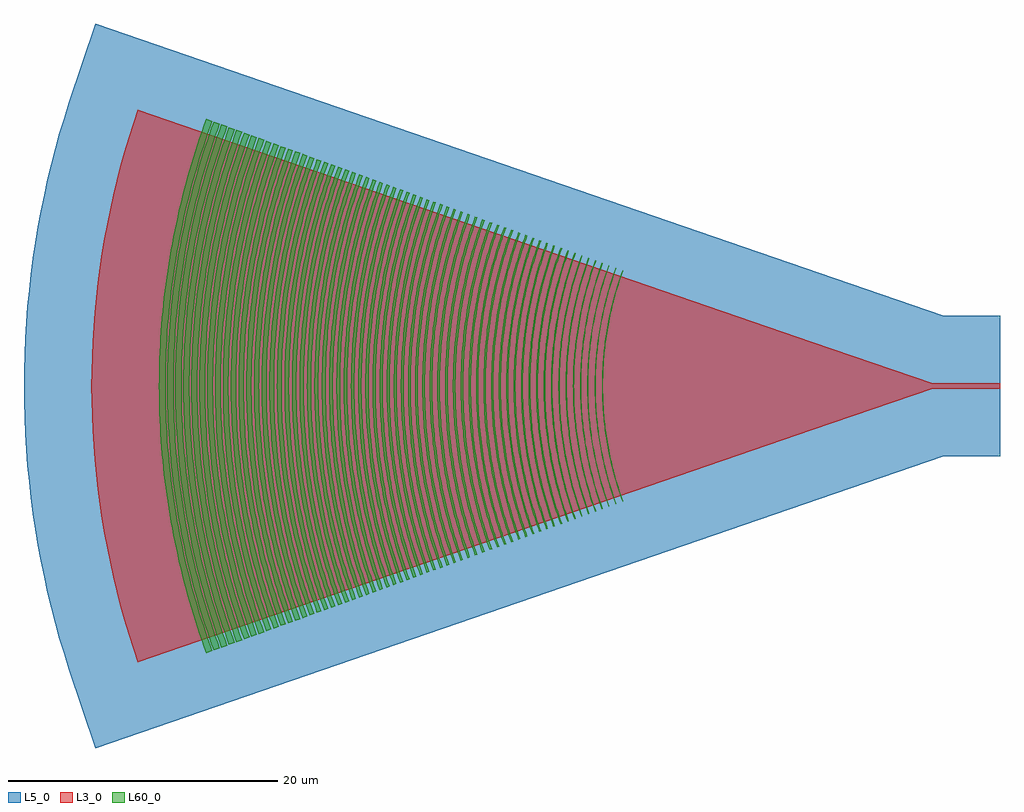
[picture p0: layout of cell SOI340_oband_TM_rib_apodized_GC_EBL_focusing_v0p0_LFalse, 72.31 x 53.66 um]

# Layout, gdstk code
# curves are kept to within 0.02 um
import gdstk
lib = gdstk.Library(unit=1e-6, precision=1e-09)
def P(c, l, *ps):  # polygons
    for p in ps: c.add(gdstk.Polygon(p, *l))
L3_0 = (3, 0)
L5_0 = (5, 0)
L60_0 = (60, 0)

soi340_oband_tm_rib_apod = lib.new_cell('SOI340_oband_TM_rib_apodized_GC_EBL_focusing_v0p0_LFalse')
P(soi340_oband_tm_rib_apod, L3_0, [(-63.882,-20.475),(-64.872,-17.335),(-65.44,-15.214),(-65.934,-13.075),(-66.353,-10.921),(-66.696,-8.752),(-67.069,-5.481),(-67.27,-2.195),(-67.308,0),(-67.27,2.195),(-67.069,5.481),(-66.696,8.752),(-66.353,10.921),(-65.934,13.075),(-65.44,15.214),(-64.872,17.335),(-63.882,20.475),(-5,0.2),(0,0.2),(0,-0.2),(-5,-0.2)])
P(soi340_oband_tm_rib_apod, L5_0, [(-66.982,-26.83),(-67.039,-26.802),(-68.986,-20.978),(-69.679,-18.713),(-70.292,-16.423),(-70.825,-14.116),(-71.061,-12.955),(-71.473,-10.619),(-71.648,-9.447),(-71.936,-7.098),(-72.05,-5.918),(-72.143,-4.735),(-72.267,-2.368),(-72.308,0),(-72.267,2.368),(-72.143,4.735),(-72.05,5.918),(-71.936,7.098),(-71.648,9.447),(-71.473,10.619),(-71.061,12.955),(-70.825,14.116),(-70.292,16.423),(-69.679,18.713),(-68.986,20.978),(-67.039,26.802),(-66.982,26.83),(-4.163,5.2),(0,5.2),(0,-5.2),(-4.163,-5.2)])
P(soi340_oband_tm_rib_apod, L60_0, [(-27.967,-8.571),(-28.114,-8.159),(-28.319,-7.536),(-28.509,-6.908),(-28.625,-6.486),(-28.885,-5.424),(-29.019,-4.781),(-29.098,-4.351),(-29.203,-3.704),(-29.293,-3.054),(-29.384,-2.184),(-29.455,-1.093),(-29.479,0),(-29.455,1.093),(-29.384,2.184),(-29.293,3.054),(-29.203,3.704),(-29.098,4.351),(-29.019,4.781),(-28.885,5.424),(-28.625,6.486),(-28.509,6.908),(-28.319,7.536),(-28.114,8.159),(-27.967,8.571),(-27.911,8.551),(-28.127,7.933),(-28.327,7.309),(-28.51,6.681),(-28.676,6.048),(-28.873,5.198),(-29.076,4.126),(-29.233,3.047),(-29.324,2.179),(-29.395,1.09),(-29.419,0),(-29.395,-1.09),(-29.324,-2.179),(-29.233,-3.047),(-29.076,-4.126),(-28.873,-5.198),(-28.676,-6.048),(-28.51,-6.681),(-28.327,-7.309),(-28.127,-7.933),(-27.911,-8.551)],
  [(-28.475,-8.755),(-28.624,-8.335),(-28.833,-7.698),(-29.027,-7.057),(-29.146,-6.626),(-29.412,-5.541),(-29.629,-4.445),(-29.799,-3.342),(-29.854,-2.898),(-29.921,-2.231),(-29.994,-1.117),(-30.018,0),(-29.994,1.117),(-29.921,2.231),(-29.854,2.898),(-29.799,3.342),(-29.629,4.445),(-29.412,5.541),(-29.146,6.626),(-29.027,7.057),(-28.833,7.698),(-28.624,8.335),(-28.475,8.755),(-28.418,8.735),(-28.638,8.104),(-28.842,7.467),(-29.029,6.825),(-29.199,6.178),(-29.4,5.31),(-29.608,4.215),(-29.74,3.334),(-29.861,2.226),(-29.934,1.114),(-29.958,0),(-29.934,-1.114),(-29.861,-2.226),(-29.74,-3.334),(-29.608,-4.215),(-29.4,-5.31),(-29.199,-6.178),(-29.029,-6.825),(-28.842,-7.467),(-28.638,-8.104),(-28.418,-8.735)],
  [(-28.997,-8.945),(-29.15,-8.515),(-29.364,-7.865),(-29.498,-7.429),(-29.684,-6.77),(-29.955,-5.661),(-30.095,-4.99),(-30.178,-4.542),(-30.351,-3.414),(-30.407,-2.961),(-30.476,-2.279),(-30.55,-1.141),(-30.566,-0.685),(-30.575,0),(-30.566,0.685),(-30.55,1.141),(-30.476,2.279),(-30.432,2.734),(-30.351,3.414),(-30.178,4.542),(-30.095,4.99),(-29.955,5.661),(-29.684,6.77),(-29.562,7.21),(-29.364,7.865),(-29.15,8.515),(-28.997,8.945),(-28.941,8.925),(-29.166,8.28),(-29.375,7.63),(-29.684,6.534),(-29.945,5.426),(-30.119,4.532),(-30.292,3.406),(-30.416,2.274),(-30.49,1.138),(-30.506,0.683),(-30.515,0),(-30.506,-0.683),(-30.49,-1.138),(-30.416,-2.274),(-30.292,-3.406),(-30.119,-4.532),(-29.945,-5.426),(-29.684,-6.534),(-29.375,-7.63),(-29.166,-8.28),(-28.941,-8.925)],
  [(-29.489,-9.124),(-29.645,-8.686),(-29.863,-8.022),(-30.065,-7.354),(-30.189,-6.905),(-30.466,-5.774),(-30.563,-5.319),(-30.693,-4.633),(-30.805,-3.943),(-30.9,-3.251),(-30.997,-2.325),(-31.073,-1.164),(-31.098,0),(-31.073,1.164),(-30.997,2.325),(-30.9,3.251),(-30.805,3.943),(-30.693,4.633),(-30.563,5.319),(-30.466,5.774),(-30.189,6.905),(-30.065,7.354),(-29.863,8.022),(-29.645,8.686),(-29.489,9.124),(-29.432,9.104),(-29.661,8.446),(-29.874,7.782),(-30.069,7.113),(-30.246,6.439),(-30.355,5.988),(-30.503,5.307),(-30.672,4.393),(-30.745,3.934),(-30.839,3.244),(-30.936,2.32),(-31.012,1.161),(-31.037,0),(-31.012,-1.161),(-30.936,-2.32),(-30.839,-3.244),(-30.745,-3.934),(-30.672,-4.393),(-30.503,-5.307),(-30.355,-5.988),(-30.246,-6.439),(-30.069,-7.113),(-29.874,-7.782),(-29.661,-8.446),(-29.432,-9.104)],
  [(-29.994,-9.308),(-30.376,-8.184),(-30.707,-7.044),(-30.99,-5.891),(-31.222,-4.726),(-31.402,-3.553),(-31.532,-2.372),(-31.609,-1.187),(-31.635,0),(-31.609,1.187),(-31.532,2.372),(-31.402,3.553),(-31.222,4.726),(-30.99,5.891),(-30.707,7.044),(-30.376,8.184),(-29.994,9.308),(-29.924,9.283),(-30.158,8.612),(-30.375,7.936),(-30.574,7.253),(-30.755,6.566),(-30.968,5.643),(-31.189,4.48),(-31.359,3.308),(-31.458,2.366),(-31.535,1.184),(-31.561,0),(-31.535,-1.184),(-31.458,-2.366),(-31.359,-3.308),(-31.189,-4.48),(-30.968,-5.643),(-30.755,-6.566),(-30.574,-7.253),(-30.375,-7.936),(-30.158,-8.612),(-29.924,-9.283)],
  [(-30.499,-9.492),(-30.739,-8.807),(-30.961,-8.115),(-31.227,-7.183),(-31.515,-6.007),(-31.752,-4.819),(-31.935,-3.622),(-32.068,-2.419),(-32.147,-1.21),(-32.173,0),(-32.147,1.21),(-32.068,2.419),(-31.935,3.622),(-31.752,4.819),(-31.515,6.007),(-31.227,7.183),(-30.961,8.115),(-30.739,8.807),(-30.499,9.492),(-30.426,9.466),(-30.814,8.322),(-31.152,7.163),(-31.439,5.99),(-31.675,4.806),(-31.858,3.612),(-31.99,2.412),(-32.069,1.207),(-32.095,0),(-32.069,-1.207),(-31.99,-2.412),(-31.858,-3.612),(-31.675,-4.806),(-31.439,-5.99),(-31.152,-7.163),(-30.814,-8.322),(-30.426,-9.466)],
  [(-31.003,-9.676),(-31.325,-8.743),(-31.681,-7.561),(-31.985,-6.364),(-32.237,-5.156),(-32.362,-4.426),(-32.468,-3.693),(-32.603,-2.466),(-32.683,-1.234),(-32.71,0),(-32.683,1.234),(-32.603,2.466),(-32.468,3.693),(-32.362,4.426),(-32.237,5.156),(-31.985,6.364),(-31.681,7.561),(-31.325,8.743),(-31.003,9.676),(-30.931,9.65),(-31.175,8.952),(-31.4,8.249),(-31.607,7.54),(-31.795,6.826),(-32.067,5.625),(-32.246,4.657),(-32.392,3.683),(-32.526,2.459),(-32.606,1.231),(-32.633,0),(-32.606,-1.231),(-32.526,-2.459),(-32.392,-3.683),(-32.246,-4.657),(-32.067,-5.625),(-31.795,-6.826),(-31.607,-7.54),(-31.4,-8.249),(-31.175,-8.952),(-30.931,-9.65)],
  [(-31.517,-9.862),(-31.922,-8.672),(-32.274,-7.464),(-32.573,-6.242),(-32.818,-5.008),(-33.009,-3.764),(-33.147,-2.513),(-33.229,-1.258),(-33.256,0),(-33.229,1.258),(-33.147,2.513),(-33.009,3.764),(-32.818,5.008),(-32.573,6.242),(-32.274,7.464),(-31.922,8.672),(-31.517,9.862),(-31.43,9.831),(-31.834,8.644),(-32.185,7.44),(-32.483,6.222),(-32.636,5.485),(-32.77,4.744),(-32.95,3.503),(-33.055,2.505),(-33.137,1.254),(-33.164,0),(-33.137,-1.254),(-33.055,-2.505),(-32.95,-3.503),(-32.77,-4.744),(-32.636,-5.485),(-32.483,-6.222),(-32.185,-7.44),(-31.834,-8.644),(-31.43,-9.831)],
  [(-32.033,-10.05),(-32.445,-8.837),(-32.803,-7.605),(-33.109,-6.36),(-33.358,-5.102),(-33.554,-3.836),(-33.694,-2.561),(-33.777,-1.282),(-33.805,0),(-33.777,1.282),(-33.694,2.561),(-33.554,3.836),(-33.358,5.102),(-33.109,6.36),(-32.803,7.605),(-32.445,8.837),(-32.033,10.05),(-31.933,10.014),(-32.42,8.561),(-32.766,7.331),(-33.059,6.088),(-33.339,4.58),(-33.511,3.315),(-33.609,2.297),(-33.681,1.022),(-33.699,0),(-33.681,-1.022),(-33.609,-2.297),(-33.511,-3.315),(-33.339,-4.58),(-33.059,-6.088),(-32.766,-7.331),(-32.42,-8.561),(-31.933,-10.014)],
  [(-32.558,-10.241),(-32.978,-9.005),(-33.344,-7.75),(-33.654,-6.481),(-33.909,-5.2),(-34.108,-3.909),(-34.251,-2.609),(-34.336,-1.306),(-34.364,0),(-34.336,1.306),(-34.251,2.609),(-34.108,3.909),(-33.909,5.2),(-33.654,6.481),(-33.344,7.75),(-32.978,9.005),(-32.558,10.241),(-32.444,10.2),(-32.863,8.968),(-33.227,7.719),(-33.536,6.455),(-33.834,4.922),(-34.021,3.635),(-34.13,2.599),(-34.215,1.301),(-34.243,0),(-34.215,-1.301),(-34.13,-2.599),(-34.021,-3.635),(-33.834,-4.922),(-33.536,-6.455),(-33.227,-7.719),(-32.863,-8.968),(-32.444,-10.2)],
  [(-33.085,-10.433),(-33.512,-9.173),(-33.885,-7.895),(-34.201,-6.602),(-34.46,-5.297),(-34.663,-3.982),(-34.808,-2.659),(-34.895,-1.33),(-34.924,0),(-34.895,1.33),(-34.808,2.659),(-34.663,3.982),(-34.46,5.297),(-34.201,6.602),(-33.885,7.895),(-33.512,9.173),(-33.085,10.433),(-32.97,10.392),(-33.396,9.136),(-33.767,7.864),(-34.082,6.576),(-34.385,5.015),(-34.576,3.703),(-34.708,2.384),(-34.773,1.325),(-34.802,0),(-34.773,-1.325),(-34.708,-2.384),(-34.576,-3.703),(-34.385,-5.015),(-34.082,-6.576),(-33.767,-7.864),(-33.396,-9.136),(-32.97,-10.392)],
  [(-33.606,-10.622),(-34.041,-9.34),(-34.421,-8.039),(-34.743,-6.722),(-35.007,-5.393),(-35.213,-4.054),(-35.361,-2.707),(-35.45,-1.354),(-35.479,0),(-35.45,1.354),(-35.361,2.707),(-35.213,4.054),(-35.007,5.393),(-34.743,6.722),(-34.421,8.039),(-34.041,9.34),(-33.606,10.622),(-33.491,10.581),(-33.925,9.303),(-34.372,7.746),(-34.681,6.432),(-34.933,5.106),(-35.126,3.77),(-35.262,2.427),(-35.328,1.349),(-35.357,0),(-35.328,-1.349),(-35.262,-2.427),(-35.126,-3.77),(-34.933,-5.106),(-34.681,-6.432),(-34.372,-7.746),(-33.925,-9.303),(-33.491,-10.581)],
  [(-34.123,-10.81),(-34.565,-9.505),(-34.951,-8.181),(-35.279,-6.842),(-35.548,-5.488),(-35.758,-4.126),(-35.908,-2.755),(-35.998,-1.379),(-36.028,0),(-35.998,1.379),(-35.908,2.755),(-35.758,4.126),(-35.548,5.488),(-35.279,6.842),(-34.951,8.181),(-34.565,9.505),(-34.123,10.81),(-34.001,10.767),(-34.442,9.466),(-34.896,7.882),(-35.211,6.545),(-35.467,5.196),(-35.664,3.836),(-35.802,2.47),(-35.88,1.099),(-35.899,0),(-35.88,-1.099),(-35.802,-2.47),(-35.664,-3.836),(-35.467,-5.196),(-35.211,-6.545),(-34.896,-7.882),(-34.442,-9.466),(-34.001,-10.767)],
  [(-34.635,-10.997),(-35.086,-9.67),(-35.478,-8.322),(-35.812,-6.96),(-36.085,-5.584),(-36.299,-4.197),(-36.452,-2.802),(-36.544,-1.403),(-36.574,0),(-36.544,1.403),(-36.452,2.802),(-36.299,4.197),(-36.085,5.584),(-35.812,6.96),(-35.478,8.322),(-35.086,9.67),(-34.635,10.997),(-34.511,10.953),(-34.96,9.63),(-35.351,8.288),(-35.683,6.931),(-36.003,5.285),(-36.168,4.18),(-36.32,2.791),(-36.412,1.397),(-36.442,0),(-36.412,-1.397),(-36.32,-2.791),(-36.168,-4.18),(-36.003,-5.285),(-35.683,-6.931),(-35.351,-8.288),(-34.96,-9.63),(-34.511,-10.953)],
  [(-35.156,-11.187),(-35.615,-9.836),(-36.014,-8.466),(-36.354,-7.08),(-36.632,-5.68),(-36.885,-3.987),(-37.029,-2.567),(-37.098,-1.426),(-37.129,0),(-37.098,1.426),(-37.029,2.567),(-36.885,3.987),(-36.632,5.68),(-36.354,7.08),(-36.014,8.466),(-35.615,9.836),(-35.156,11.187),(-35.019,11.138),(-35.476,9.792),(-35.946,8.153),(-36.329,6.492),(-36.582,5.094),(-36.774,3.686),(-36.883,2.555),(-36.952,1.42),(-36.983,0),(-36.952,-1.42),(-36.883,-2.555),(-36.774,-3.686),(-36.582,-5.094),(-36.329,-6.492),(-35.946,-8.153),(-35.476,-9.792),(-35.019,-11.138)],
  [(-35.682,-11.378),(-36.149,-10.005),(-36.555,-8.611),(-36.901,-7.201),(-37.184,-5.778),(-37.405,-4.343),(-37.562,-2.9),(-37.657,-1.451),(-37.689,0),(-37.657,1.451),(-37.562,2.9),(-37.405,4.343),(-37.184,5.778),(-36.901,7.201),(-36.555,8.611),(-36.149,10.005),(-35.682,11.378),(-35.545,11.329),(-36.096,9.685),(-36.488,8.294),(-36.819,6.887),(-37.089,5.467),(-37.296,4.037),(-37.441,2.599),(-37.523,1.156),(-37.543,0),(-37.523,-1.156),(-37.441,-2.599),(-37.296,-4.037),(-37.089,-5.467),(-36.819,-6.887),(-36.488,-8.294),(-36.096,-9.685),(-35.545,-11.329)],
  [(-36.22,-11.574),(-36.694,-10.176),(-37.107,-8.759),(-37.458,-7.325),(-37.746,-5.876),(-37.971,-4.418),(-38.131,-2.95),(-38.228,-1.476),(-38.26,0),(-38.228,1.476),(-38.131,2.95),(-37.971,4.418),(-37.746,5.876),(-37.458,7.325),(-37.107,8.759),(-36.694,10.176),(-36.22,11.574),(-36.072,11.521),(-36.544,10.129),(-37.03,8.434),(-37.367,7.003),(-37.641,5.559),(-37.815,4.397),(-37.975,2.936),(-38.071,1.469),(-38.103,0),(-38.071,-1.469),(-37.975,-2.936),(-37.815,-4.397),(-37.641,-5.559),(-37.367,-7.003),(-37.03,-8.434),(-36.544,-10.129),(-36.072,-11.521)],
  [(-36.736,-11.762),(-37.218,-10.341),(-37.638,-8.901),(-37.994,-7.444),(-38.288,-5.971),(-38.516,-4.489),(-38.679,-2.998),(-38.777,-1.5),(-38.81,0),(-38.777,1.5),(-38.679,2.998),(-38.516,4.489),(-38.288,5.971),(-38.059,7.151),(-37.638,8.901),(-37.218,10.341),(-36.736,11.762),(-36.598,11.712),(-37.078,10.297),(-37.496,8.863),(-37.915,7.12),(-38.193,5.652),(-38.408,4.173),(-38.533,2.985),(-38.63,1.494),(-38.663,0),(-38.63,-1.494),(-38.533,-2.985),(-38.408,-4.173),(-38.193,-5.652),(-37.915,-7.12),(-37.496,-8.863),(-37.078,-10.297),(-36.598,-11.712)],
  [(-37.257,-11.951),(-37.747,-10.508),(-38.174,-9.045),(-38.537,-7.563),(-38.835,-6.068),(-39.066,-4.561),(-39.232,-3.046),(-39.332,-1.524),(-39.365,0),(-39.332,1.524),(-39.232,3.046),(-39.066,4.561),(-38.835,6.068),(-38.537,7.563),(-38.174,9.045),(-37.747,10.508),(-37.257,11.951),(-37.104,11.896),(-37.682,10.17),(-38.094,8.709),(-38.504,6.935),(-38.774,5.441),(-38.943,4.239),(-39.095,2.729),(-39.181,1.214),(-39.202,0),(-39.181,-1.214),(-39.095,-2.729),(-38.943,-4.239),(-38.774,-5.441),(-38.504,-6.935),(-38.094,-8.709),(-37.682,-10.17),(-37.104,-11.896)],
  [(-37.803,-12.15),(-38.3,-10.683),(-38.735,-9.194),(-39.103,-7.689),(-39.405,-6.169),(-39.641,-4.637),(-39.81,-3.096),(-39.911,-1.55),(-39.945,0),(-39.911,1.55),(-39.81,3.096),(-39.641,4.637),(-39.405,6.169),(-39.103,7.689),(-38.735,9.194),(-38.3,10.683),(-37.803,12.15),(-37.63,12.088),(-38.217,10.333),(-38.635,8.849),(-38.989,7.348),(-39.326,5.529),(-39.498,4.307),(-39.652,2.773),(-39.727,1.542),(-39.761,0),(-39.727,-1.542),(-39.652,-2.773),(-39.498,-4.307),(-39.326,-5.529),(-38.989,-7.348),(-38.635,-8.849),(-38.217,-10.333),(-37.63,-12.088)],
  [(-38.349,-12.349),(-38.856,-10.858),(-39.297,-9.346),(-39.671,-7.816),(-39.978,-6.27),(-40.218,-4.713),(-40.389,-3.147),(-40.493,-1.575),(-40.527,0),(-40.493,1.575),(-40.389,3.147),(-40.218,4.713),(-39.978,6.27),(-39.671,7.816),(-39.297,9.346),(-38.856,10.858),(-38.349,12.349),(-38.177,12.287),(-38.681,10.803),(-39.2,8.995),(-39.623,7.162),(-39.902,5.62),(-40.113,4.067),(-40.233,2.819),(-40.31,1.567),(-40.344,0),(-40.31,-1.567),(-40.233,-2.819),(-40.113,-4.067),(-39.902,-5.62),(-39.623,-7.162),(-39.2,-8.995),(-38.681,-10.803),(-38.177,-12.287)],
  [(-38.898,-12.549),(-39.412,-11.033),(-39.861,-9.496),(-40.242,-7.942),(-40.553,-6.371),(-40.797,-4.789),(-40.971,-3.198),(-41.076,-1.6),(-41.111,0),(-41.076,1.6),(-40.971,3.198),(-40.797,4.789),(-40.553,6.371),(-40.242,7.942),(-39.861,9.496),(-39.412,11.033),(-38.898,12.549),(-38.722,12.485),(-39.329,10.673),(-39.761,9.14),(-40.191,7.278),(-40.475,5.711),(-40.652,4.449),(-40.811,2.864),(-40.902,1.274),(-40.924,0),(-40.902,-1.274),(-40.811,-2.864),(-40.652,-4.449),(-40.475,-5.711),(-40.191,-7.278),(-39.761,-9.14),(-39.329,-10.673),(-38.722,-12.485)],
  [(-39.44,-12.745),(-39.962,-11.207),(-40.417,-9.646),(-40.804,-8.066),(-41.121,-6.471),(-41.368,-4.864),(-41.545,-3.248),(-41.652,-1.626),(-41.687,0),(-41.652,1.626),(-41.545,3.248),(-41.368,4.864),(-41.121,6.471),(-40.804,8.066),(-40.417,9.646),(-39.962,11.207),(-39.44,12.745),(-39.266,12.683),(-39.882,10.842),(-40.321,9.285),(-40.758,7.393),(-41.045,5.801),(-41.226,4.519),(-41.388,2.909),(-41.467,1.618),(-41.502,0),(-41.467,-1.618),(-41.388,-2.909),(-41.226,-4.519),(-41.045,-5.801),(-40.758,-7.393),(-40.321,-9.285),(-39.882,-10.842),(-39.266,-12.683)],
  [(-39.969,-12.938),(-40.499,-11.376),(-40.961,-9.792),(-41.354,-8.188),(-41.675,-6.569),(-41.926,-4.938),(-42.106,-3.297),(-42.214,-1.65),(-42.25,0),(-42.214,1.65),(-42.106,3.297),(-41.926,4.938),(-41.675,6.569),(-41.354,8.188),(-40.961,9.792),(-40.499,11.376),(-39.969,12.938),(-39.795,12.876),(-40.323,11.32),(-40.866,9.426),(-41.242,7.827),(-41.602,5.889),(-41.823,4.262),(-41.949,2.954),(-42.042,1.314),(-42.065,0),(-42.042,-1.314),(-41.949,-2.954),(-41.823,-4.262),(-41.602,-5.889),(-41.242,-7.827),(-40.866,-9.426),(-40.323,-11.32),(-39.795,-12.876)],
  [(-40.482,-13.124),(-41.019,-11.54),(-41.489,-9.933),(-41.887,-8.306),(-42.213,-6.664),(-42.467,-5.009),(-42.65,-3.345),(-42.76,-1.674),(-42.796,0),(-42.76,1.674),(-42.65,3.345),(-42.467,5.009),(-42.213,6.664),(-41.887,8.306),(-41.489,9.933),(-41.019,11.54),(-40.482,13.124),(-40.308,13.062),(-40.843,11.485),(-41.394,9.563),(-41.776,7.941),(-42.141,5.975),(-42.326,4.654),(-42.493,2.997),(-42.575,1.666),(-42.611,0),(-42.575,-1.666),(-42.493,-2.997),(-42.326,-4.654),(-42.141,-5.975),(-41.776,-7.941),(-41.394,-9.563),(-40.843,-11.485),(-40.308,-13.062)],
  [(-40.984,-13.307),(-41.529,-11.701),(-42.005,-10.071),(-42.408,-8.421),(-42.739,-6.756),(-42.997,-5.078),(-43.182,-3.391),(-43.293,-1.697),(-43.33,0),(-43.293,1.697),(-43.182,3.391),(-42.997,5.078),(-42.739,6.756),(-42.408,8.421),(-42.005,10.071),(-41.529,11.701),(-40.984,13.307),(-40.808,13.244),(-41.351,11.645),(-41.824,10.023),(-42.297,8.051),(-42.612,6.391),(-42.854,4.719),(-43.024,3.038),(-43.106,1.689),(-43.143,0),(-43.106,-1.689),(-43.024,-3.038),(-42.854,-4.719),(-42.612,-6.391),(-42.297,-8.051),(-41.824,-10.023),(-41.351,-11.645),(-40.808,-13.244)],
  [(-41.477,-13.488),(-42.03,-11.858),(-42.512,-10.206),(-42.92,-8.535),(-43.256,-6.848),(-43.517,-5.148),(-43.705,-3.437),(-43.818,-1.72),(-43.855,0),(-43.818,1.72),(-43.705,3.437),(-43.517,5.148),(-43.256,6.848),(-42.92,8.535),(-42.512,10.206),(-42.03,11.858),(-41.477,13.488),(-41.297,13.423),(-41.848,11.801),(-42.414,9.826),(-42.876,7.824),(-43.181,6.139),(-43.412,4.443),(-43.543,3.079),(-43.627,1.712),(-43.664,0),(-43.627,-1.712),(-43.543,-3.079),(-43.412,-4.443),(-43.181,-6.139),(-42.876,-7.824),(-42.414,-9.826),(-41.848,-11.801),(-41.297,-13.423)],
  [(-41.97,-13.666),(-42.531,-12.016),(-43.018,-10.343),(-43.432,-8.65),(-43.773,-6.939),(-44.038,-5.216),(-44.228,-3.483),(-44.342,-1.743),(-44.38,0),(-44.342,1.743),(-44.228,3.483),(-44.038,5.216),(-43.773,6.939),(-43.432,8.65),(-43.018,10.343),(-42.531,12.016),(-41.97,13.666),(-41.785,13.6),(-42.343,11.957),(-42.828,10.292),(-43.314,8.267),(-43.638,6.563),(-43.887,4.846),(-44.032,3.466),(-44.145,1.734),(-44.183,0),(-44.145,-1.734),(-44.032,-3.466),(-43.887,-4.846),(-43.638,-6.563),(-43.314,-8.267),(-42.828,-10.292),(-42.343,-11.957),(-41.785,-13.6)],
  [(-42.464,-13.846),(-43.032,-12.174),(-43.525,-10.479),(-43.945,-8.763),(-44.29,-7.031),(-44.558,-5.285),(-44.751,-3.529),(-44.867,-1.766),(-44.905,0),(-44.867,1.766),(-44.751,3.529),(-44.558,5.285),(-44.29,7.031),(-43.945,8.763),(-43.525,10.479),(-43.032,12.174),(-42.464,13.846),(-42.272,13.777),(-42.837,12.113),(-43.418,10.086),(-43.821,8.375),(-44.149,6.648),(-44.401,4.909),(-44.548,3.511),(-44.663,1.757),(-44.701,0),(-44.663,-1.757),(-44.548,-3.511),(-44.401,-4.909),(-44.149,-6.648),(-43.821,-8.375),(-43.418,-10.086),(-42.837,-12.113),(-42.272,-13.777)],
  [(-42.957,-14.026),(-43.532,-12.332),(-44.033,-10.614),(-44.458,-8.876),(-44.807,-7.121),(-45.079,-5.353),(-45.274,-3.574),(-45.391,-1.789),(-45.43,0),(-45.391,1.789),(-45.274,3.574),(-45.079,5.353),(-44.807,7.121),(-44.458,8.876),(-44.033,10.614),(-43.532,12.332),(-42.957,14.026),(-42.759,13.955),(-43.332,12.269),(-43.92,10.216),(-44.401,8.134),(-44.718,6.383),(-44.958,4.619),(-45.094,3.201),(-45.181,1.78),(-45.22,0),(-45.181,-1.78),(-45.094,-3.201),(-44.958,-4.619),(-44.718,-6.383),(-44.401,-8.134),(-43.92,-10.216),(-43.332,-12.269),(-42.759,-13.955)],
  [(-43.452,-14.206),(-44.035,-12.491),(-44.542,-10.751),(-44.973,-8.99),(-45.326,-7.213),(-45.602,-5.422),(-45.799,-3.62),(-45.918,-1.812),(-45.957,0),(-45.918,1.812),(-45.799,3.62),(-45.602,5.422),(-45.326,7.213),(-44.973,8.99),(-44.542,10.751),(-44.035,12.491),(-43.452,14.206),(-43.246,14.132),(-43.933,12.081),(-44.422,10.345),(-44.909,8.238),(-45.229,6.464),(-45.43,5.036),(-45.611,3.242),(-45.699,1.802),(-45.738,0),(-45.699,-1.802),(-45.611,-3.242),(-45.43,-5.036),(-45.229,-6.464),(-44.909,-8.238),(-44.422,-10.345),(-43.933,-12.081),(-43.246,-14.132)],
  [(-43.949,-14.386),(-44.538,-12.65),(-45.051,-10.887),(-45.488,-9.105),(-45.846,-7.305),(-46.125,-5.49),(-46.325,-3.667),(-46.445,-1.835),(-46.485,0),(-46.445,1.835),(-46.325,3.667),(-46.125,5.49),(-45.846,7.305),(-45.488,9.105),(-45.051,10.887),(-44.538,12.65),(-43.949,14.386),(-43.737,14.31),(-44.432,12.233),(-44.927,10.476),(-45.346,8.699),(-45.745,6.545),(-45.991,4.737),(-46.131,3.283),(-46.235,1.46),(-46.26,0),(-46.235,-1.46),(-46.131,-3.283),(-45.991,-4.737),(-45.745,-6.545),(-45.346,-8.699),(-44.927,-10.476),(-44.432,-12.233),(-43.737,-14.31)],
  [(-44.447,-14.568),(-45.044,-12.809),(-45.565,-11.025),(-46.006,-9.22),(-46.368,-7.397),(-46.652,-5.559),(-46.854,-3.712),(-46.976,-1.858),(-47.016,0),(-46.976,1.858),(-46.854,3.712),(-46.652,5.559),(-46.368,7.397),(-46.006,9.22),(-45.565,11.025),(-45.044,12.809),(-44.447,14.568),(-44.227,14.489),(-44.931,12.386),(-45.433,10.607),(-45.932,8.446),(-46.26,6.627),(-46.51,4.796),(-46.651,3.324),(-46.742,1.848),(-46.782,0),(-46.742,-1.848),(-46.651,-3.324),(-46.51,-4.796),(-46.26,-6.627),(-45.932,-8.446),(-45.433,-10.607),(-44.931,-12.386),(-44.227,-14.489)],
  [(-44.948,-14.75),(-45.552,-12.969),(-46.079,-11.162),(-46.525,-9.335),(-46.892,-7.489),(-47.179,-5.629),(-47.384,-3.759),(-47.507,-1.882),(-47.548,0),(-47.507,1.882),(-47.384,3.759),(-47.179,5.629),(-46.892,7.489),(-46.525,9.335),(-46.079,11.162),(-45.552,12.969),(-44.948,14.75),(-44.721,14.669),(-45.322,12.897),(-45.941,10.738),(-46.37,8.917),(-46.779,6.709),(-46.987,5.227),(-47.175,3.365),(-47.281,1.497),(-47.307,0),(-47.281,-1.497),(-47.175,-3.365),(-46.987,-5.227),(-46.779,-6.709),(-46.37,-8.917),(-45.941,-10.738),(-45.322,-12.897),(-44.721,-14.669)],
  [(-45.449,-14.932),(-46.061,-13.13),(-46.595,-11.3),(-47.047,-9.451),(-47.418,-7.582),(-47.709,-5.7),(-47.916,-3.806),(-48.041,-1.905),(-48.082,0),(-48.041,1.905),(-47.916,3.806),(-47.709,5.7),(-47.418,7.582),(-47.047,9.451),(-46.595,11.3),(-46.061,13.13),(-45.449,14.932),(-45.215,14.848),(-45.824,13.055),(-46.45,10.87),(-46.884,9.026),(-47.299,6.791),(-47.554,4.915),(-47.699,3.406),(-47.807,1.515),(-47.833,0),(-47.807,-1.515),(-47.699,-3.406),(-47.554,-4.915),(-47.299,-6.791),(-46.884,-9.026),(-46.45,-10.87),(-45.824,-13.055),(-45.215,-14.848)],
  [(-45.955,-15.116),(-46.574,-13.292),(-47.114,-11.44),(-47.572,-9.567),(-47.948,-7.676),(-48.242,-5.77),(-48.452,-3.853),(-48.578,-1.928),(-48.62,0),(-48.578,1.928),(-48.452,3.853),(-48.242,5.77),(-47.948,7.676),(-47.572,9.567),(-47.114,11.44),(-46.574,13.292),(-45.955,15.116),(-45.712,15.029),(-46.442,12.848),(-46.962,11.002),(-47.402,9.136),(-47.821,6.874),(-48.08,4.974),(-48.227,3.448),(-48.335,1.534),(-48.362,0),(-48.335,-1.534),(-48.227,-3.448),(-48.08,-4.974),(-47.821,-6.874),(-47.402,-9.136),(-46.962,-11.002),(-46.442,-12.848),(-45.712,-15.029)],
  [(-46.461,-15.301),(-47.089,-13.454),(-47.635,-11.58),(-48.099,-9.683),(-48.479,-7.769),(-48.777,-5.839),(-48.989,-3.899),(-49.117,-1.952),(-49.159,0),(-49.117,1.952),(-48.989,3.899),(-48.777,5.839),(-48.479,7.769),(-48.099,9.683),(-47.635,11.58),(-47.089,13.454),(-46.461,15.301),(-46.212,15.211),(-46.836,13.374),(-47.477,11.136),(-47.922,9.247),(-48.346,6.957),(-48.608,5.035),(-48.757,3.489),(-48.852,1.94),(-48.894,0),(-48.852,-1.94),(-48.757,-3.489),(-48.608,-5.035),(-48.346,-6.957),(-47.922,-9.247),(-47.477,-11.136),(-46.836,-13.374),(-46.212,-15.211)],
  [(-46.97,-15.485),(-47.604,-13.616),(-48.157,-11.72),(-48.627,-9.8),(-49.012,-7.863),(-49.313,-5.911),(-49.528,-3.947),(-49.657,-1.975),(-49.7,0),(-49.657,1.975),(-49.528,3.947),(-49.313,5.911),(-49.012,7.863),(-48.627,9.8),(-48.157,11.72),(-47.604,13.616),(-46.97,15.485),(-46.712,15.393),(-47.343,13.534),(-47.992,11.269),(-48.522,8.973),(-48.872,7.041),(-49.091,5.485),(-49.287,3.531),(-49.399,1.571),(-49.426,0),(-49.399,-1.571),(-49.287,-3.531),(-49.091,-5.485),(-48.872,-7.041),(-48.522,-8.973),(-47.992,-11.269),(-47.343,-13.534),(-46.712,-15.393)],
  [(-47.48,-15.673),(-48.123,-13.78),(-48.682,-11.86),(-49.157,-9.918),(-49.548,-7.957),(-49.852,-5.982),(-50.07,-3.994),(-50.201,-1.999),(-50.244,0),(-50.201,1.999),(-50.07,3.994),(-49.852,5.982),(-49.548,7.957),(-49.157,9.918),(-48.682,11.86),(-48.123,13.78),(-47.48,15.673),(-47.215,15.577),(-47.972,13.315),(-48.511,11.403),(-49.048,9.08),(-49.401,7.124),(-49.623,5.55),(-49.822,3.573),(-49.919,1.987),(-49.962,0),(-49.919,-1.987),(-49.822,-3.573),(-49.623,-5.55),(-49.401,-7.124),(-49.048,-9.08),(-48.511,-11.403),(-47.972,-13.315),(-47.215,-15.577)],
  [(-47.994,-15.859),(-48.644,-13.944),(-49.21,-12.001),(-49.691,-10.037),(-50.086,-8.053),(-50.394,-6.053),(-50.614,-4.041),(-50.746,-2.023),(-50.79,0),(-50.746,2.023),(-50.614,4.041),(-50.394,6.053),(-50.086,8.053),(-49.691,10.037),(-49.21,12.001),(-48.644,13.944),(-47.994,15.859),(-47.72,15.76),(-48.486,13.472),(-49.031,11.538),(-49.492,9.581),(-49.932,7.209),(-50.156,5.616),(-50.357,3.615),(-50.471,1.608),(-50.499,0),(-50.471,-1.608),(-50.357,-3.615),(-50.156,-5.616),(-49.932,-7.209),(-49.492,-9.581),(-49.031,-11.538),(-48.486,-13.472),(-47.72,-15.76)],
  [(-48.512,-16.048),(-49.17,-14.111),(-49.743,-12.145),(-50.23,-10.156),(-50.629,-8.149),(-50.94,-6.124),(-51.164,-4.089),(-51.298,-2.047),(-51.342,0),(-51.298,2.047),(-51.164,4.089),(-50.94,6.124),(-50.629,8.149),(-50.23,10.156),(-49.743,12.145),(-49.17,14.111),(-48.512,16.048),(-48.229,15.946),(-49.004,13.631),(-49.556,11.673),(-50.105,9.295),(-50.467,7.293),(-50.741,5.278),(-50.897,3.658),(-50.997,2.034),(-51.041,0),(-50.997,-2.034),(-50.897,-3.658),(-50.741,-5.278),(-50.467,-7.293),(-50.105,-9.295),(-49.556,-11.673),(-49.004,-13.631),(-48.229,-15.946)],
  [(-49.031,-16.237),(-49.697,-14.276),(-50.277,-12.288),(-50.769,-10.276),(-51.172,-8.243),(-51.487,-6.197),(-51.714,-4.138),(-51.849,-2.07),(-51.894,0),(-51.849,2.07),(-51.714,4.138),(-51.487,6.197),(-51.172,8.243),(-50.769,10.276),(-50.277,12.288),(-49.697,14.276),(-49.031,16.237),(-48.741,16.132),(-49.403,14.183),(-50.084,11.81),(-50.639,9.404),(-51.005,7.379),(-51.283,5.339),(-51.441,3.701),(-51.541,2.057),(-51.586,0),(-51.541,-2.057),(-51.441,-3.701),(-51.283,-5.339),(-51.005,-7.379),(-50.639,-9.404),(-50.084,-11.81),(-49.403,-14.183),(-48.741,-16.132)],
  [(-49.552,-16.425),(-50.224,-14.442),(-50.81,-12.431),(-51.309,-10.396),(-51.717,-8.34),(-52.036,-6.269),(-52.264,-4.186),(-52.402,-2.095),(-52.447,0),(-52.402,2.095),(-52.264,4.186),(-52.036,6.269),(-51.717,8.34),(-51.309,10.396),(-50.81,12.431),(-50.224,14.442),(-49.552,16.425),(-49.253,16.318),(-49.922,14.347),(-50.61,11.946),(-51.172,9.512),(-51.543,7.464),(-51.823,5.401),(-51.983,3.743),(-52.085,2.081),(-52.13,0),(-52.085,-2.081),(-51.983,-3.743),(-51.823,-5.401),(-51.543,-7.464),(-51.172,-9.512),(-50.61,-11.946),(-49.922,-14.347),(-49.253,-16.318)],
  [(-50.076,-16.616),(-50.756,-14.61),(-51.35,-12.575),(-51.853,-10.516),(-52.267,-8.437),(-52.589,-6.342),(-52.82,-4.234),(-52.959,-2.119),(-53.005,0),(-52.959,2.119),(-52.82,4.234),(-52.589,6.342),(-52.267,8.437),(-51.853,10.516),(-51.35,12.575),(-50.756,14.61),(-50.076,16.616),(-49.768,16.506),(-50.569,14.11),(-51.141,12.083),(-51.709,9.621),(-52.084,7.549),(-52.368,5.463),(-52.529,3.786),(-52.649,1.684),(-52.678,0),(-52.649,-1.684),(-52.529,-3.786),(-52.368,-5.463),(-52.084,-7.549),(-51.709,-9.621),(-51.141,-12.083),(-50.569,-14.11),(-49.768,-16.506)],
  [(-50.602,-16.808),(-51.291,-14.779),(-51.892,-12.72),(-52.401,-10.638),(-52.819,-8.534),(-53.145,-6.415),(-53.379,-4.284),(-53.52,-2.144),(-53.566,0),(-53.52,2.144),(-53.379,4.284),(-53.145,6.415),(-52.819,8.534),(-52.401,10.638),(-51.892,12.72),(-51.291,14.779),(-50.602,16.808),(-50.286,16.694),(-50.971,14.678),(-51.675,12.221),(-52.25,9.731),(-52.629,7.636),(-52.866,5.949),(-53.08,3.83),(-53.184,2.129),(-53.23,0),(-53.184,-2.129),(-53.08,-3.83),(-52.866,-5.949),(-52.629,-7.636),(-52.25,-9.731),(-51.675,-12.221),(-50.971,-14.678),(-50.286,-16.694)],
  [(-51.131,-17),(-51.827,-14.948),(-52.434,-12.865),(-52.95,-10.759),(-53.373,-8.632),(-53.703,-6.488),(-53.939,-4.332),(-54.081,-2.168),(-54.128,0),(-54.081,2.168),(-53.939,4.332),(-53.703,6.488),(-53.373,8.632),(-52.95,10.759),(-52.434,12.865),(-51.827,14.948),(-51.131,17),(-50.806,16.883),(-51.626,14.433),(-52.211,12.36),(-52.792,9.842),(-53.175,7.722),(-53.466,5.588),(-53.631,3.873),(-53.753,1.723),(-53.783,0),(-53.753,-1.723),(-53.631,-3.873),(-53.466,-5.588),(-53.175,-7.722),(-52.792,-9.842),(-52.211,-12.36),(-51.626,-14.433),(-50.806,-16.883)],
  [(-51.663,-17.195),(-52.369,-15.119),(-52.982,-13.013),(-53.504,-10.882),(-53.932,-8.731),(-54.265,-6.562),(-54.504,-4.382),(-54.647,-2.193),(-54.695,0),(-54.647,2.193),(-54.504,4.382),(-54.265,6.562),(-53.932,8.731),(-53.504,10.882),(-52.982,13.013),(-52.369,15.119),(-51.663,17.195),(-51.329,17.074),(-52.03,15.012),(-52.75,12.499),(-53.338,9.953),(-53.792,7.379),(-54.019,5.651),(-54.186,3.917),(-54.31,1.742),(-54.34,0),(-54.31,-1.742),(-54.186,-3.917),(-54.019,-5.651),(-53.792,-7.379),(-53.338,-9.953),(-52.75,-12.499),(-52.03,-15.012),(-51.329,-17.074)],
  [(-52.197,-17.388),(-52.91,-15.29),(-53.531,-13.159),(-54.057,-11.005),(-54.49,-8.829),(-54.828,-6.637),(-55.07,-4.431),(-55.215,-2.218),(-55.263,0),(-55.215,2.218),(-55.07,4.431),(-54.828,6.637),(-54.49,8.829),(-54.057,11.005),(-53.531,13.159),(-52.91,15.29),(-52.197,17.388),(-51.855,17.265),(-52.563,15.18),(-53.291,12.639),(-53.886,10.064),(-54.278,7.897),(-54.575,5.714),(-54.743,3.961),(-54.851,2.202),(-54.899,0),(-54.851,-2.202),(-54.743,-3.961),(-54.575,-5.714),(-54.278,-7.897),(-53.886,-10.064),(-53.291,-12.639),(-52.563,-15.18),(-51.855,-17.265)],
  [(-52.734,-17.583),(-53.455,-15.46),(-54.082,-13.307),(-54.615,-11.128),(-55.053,-8.928),(-55.394,-6.711),(-55.639,-4.482),(-55.785,-2.242),(-55.834,0),(-55.785,2.242),(-55.639,4.482),(-55.394,6.711),(-55.053,8.928),(-54.615,11.128),(-54.082,13.307),(-53.455,15.46),(-52.734,17.583),(-52.382,17.457),(-53.23,14.923),(-53.834,12.78),(-54.345,10.612),(-54.832,7.985),(-55.08,6.22),(-55.303,4.005),(-55.429,1.781),(-55.46,0),(-55.429,-1.781),(-55.303,-4.005),(-55.08,-6.22),(-54.832,-7.985),(-54.345,-10.612),(-53.834,-12.78),(-53.23,-14.923),(-52.382,-17.457)],
  [(-53.274,-17.779),(-54.002,-15.633),(-54.637,-13.456),(-55.176,-11.253),(-55.618,-9.027),(-55.964,-6.786),(-56.211,-4.532),(-56.359,-2.268),(-56.408,0),(-56.359,2.268),(-56.211,4.532),(-55.964,6.786),(-55.618,9.027),(-55.176,11.253),(-54.637,13.456),(-54.002,15.633),(-53.274,17.779),(-52.913,17.65),(-53.637,15.518),(-54.381,12.921),(-54.989,10.289),(-55.39,8.073),(-55.693,5.842),(-55.866,4.049),(-55.994,1.801),(-56.025,0),(-55.994,-1.801),(-55.866,-4.049),(-55.693,-5.842),(-55.39,-8.073),(-54.989,-10.289),(-54.381,-12.921),(-53.637,-15.518),(-52.913,-17.65)],
  [(-53.816,-17.976),(-54.552,-15.806),(-55.194,-13.605),(-55.739,-11.377),(-56.186,-9.128),(-56.536,-6.861),(-56.785,-4.581),(-56.935,-2.293),(-56.985,0),(-56.935,2.293),(-56.785,4.581),(-56.536,6.861),(-56.186,9.128),(-55.739,11.377),(-55.194,13.605),(-54.552,15.806),(-53.816,17.976),(-53.445,17.844),(-54.311,15.254),(-54.929,13.063),(-55.544,10.401),(-55.949,8.161),(-56.256,5.906),(-56.43,4.093),(-56.559,1.821),(-56.591,0),(-56.559,-1.821),(-56.43,-4.093),(-56.256,-5.906),(-55.949,-8.161),(-55.544,-10.401),(-54.929,-13.063),(-54.311,-15.254),(-53.445,-17.844)],
  [(-54.359,-18.176),(-55.104,-15.981),(-55.753,-13.755),(-56.304,-11.502),(-56.757,-9.229),(-57.11,-6.937),(-57.361,-4.632),(-57.514,-2.319),(-57.564,0),(-57.514,2.319),(-57.361,4.632),(-57.11,6.937),(-56.757,9.229),(-56.304,11.502),(-55.753,13.755),(-55.104,15.981),(-54.359,18.176),(-53.98,18.039),(-54.72,15.86),(-55.481,13.206),(-56.102,10.515),(-56.512,8.251),(-56.768,6.428),(-56.998,4.138),(-57.111,2.301),(-57.161,0),(-57.111,-2.301),(-56.998,-4.138),(-56.822,-5.971),(-56.512,-8.251),(-56.102,-10.515),(-55.481,-13.206),(-54.72,-15.86),(-53.98,-18.039)],
  [(-54.908,-18.374),(-55.66,-16.156),(-56.316,-13.906),(-56.873,-11.628),(-57.331,-9.33),(-57.687,-7.013),(-57.942,-4.683),(-58.096,-2.344),(-58.147,0),(-58.096,2.344),(-57.942,4.683),(-57.687,7.013),(-57.331,9.33),(-56.873,11.628),(-56.316,13.906),(-55.66,16.156),(-54.908,18.374),(-54.518,18.234),(-55.403,15.588),(-56.035,13.349),(-56.663,10.629),(-57.077,8.34),(-57.336,6.497),(-57.569,4.183),(-57.701,1.861),(-57.733,0),(-57.701,-1.861),(-57.569,-4.183),(-57.336,-6.497),(-57.077,-8.34),(-56.663,-10.629),(-56.035,-13.349),(-55.403,-15.588),(-54.518,-18.234)],
  [(-55.457,-18.575),(-56.218,-16.333),(-56.881,-14.057),(-57.445,-11.756),(-57.907,-9.432),(-58.267,-7.089),(-58.525,-4.734),(-58.681,-2.369),(-58.732,0),(-58.681,2.369),(-58.525,4.734),(-58.267,7.089),(-57.907,9.432),(-57.445,11.756),(-56.881,14.057),(-56.218,16.333),(-55.457,18.575),(-55.058,18.431),(-55.814,16.205),(-56.592,13.493),(-57.226,10.744),(-57.645,8.43),(-57.962,6.1),(-58.142,4.228),(-58.257,2.351),(-58.308,0),(-58.257,-2.351),(-58.142,-4.228),(-57.962,-6.1),(-57.645,-8.43),(-57.226,-10.744),(-56.592,-13.493),(-55.814,-16.205),(-55.058,-18.431)],
  [(-56.009,-18.776),(-56.779,-16.51),(-57.449,-14.209),(-58.019,-11.883),(-58.486,-9.533),(-58.85,-7.166),(-59.111,-4.785),(-59.268,-2.395),(-59.32,0),(-59.268,2.395),(-59.111,4.785),(-58.85,7.166),(-58.486,9.533),(-58.019,11.883),(-57.449,14.209),(-56.779,16.51),(-56.009,18.776),(-55.601,18.629),(-56.506,15.925),(-57.268,13.177),(-57.793,10.859),(-58.288,8.051),(-58.536,6.166),(-58.718,4.273),(-58.853,1.901),(-58.886,0),(-58.853,-1.901),(-58.718,-4.273),(-58.536,-6.166),(-58.288,-8.051),(-57.793,-10.859),(-57.268,-13.177),(-56.506,-15.925),(-55.601,-18.629)],
  [(-56.565,-18.978),(-57.342,-16.687),(-58.02,-14.362),(-58.595,-12.01),(-59.068,-9.636),(-59.436,-7.243),(-59.7,-4.836),(-59.859,-2.42),(-59.911,0),(-59.859,2.42),(-59.7,4.836),(-59.436,7.243),(-59.068,9.636),(-58.595,12.01),(-58.02,14.362),(-57.342,16.687),(-56.565,18.978),(-56.146,18.827),(-57.061,16.094),(-57.713,13.783),(-58.361,10.975),(-58.861,8.136),(-59.112,6.231),(-59.332,3.84),(-59.432,1.921),(-59.466,0),(-59.432,-1.921),(-59.332,-3.84),(-59.112,-6.231),(-58.861,-8.136),(-58.361,-10.975),(-57.713,-13.783),(-57.061,-16.094),(-56.146,-18.827)],
  [(-57.124,-19.181),(-57.91,-16.865),(-58.594,-14.516),(-59.176,-12.14),(-59.654,-9.74),(-60.026,-7.32),(-60.292,-4.888),(-60.453,-2.447),(-60.506,0),(-60.453,2.447),(-60.292,4.888),(-60.026,7.32),(-59.654,9.74),(-59.176,12.14),(-58.594,14.516),(-57.91,16.865),(-57.124,19.181),(-56.694,19.027),(-57.618,16.265),(-58.397,13.458),(-59.027,10.615),(-59.438,8.223),(-59.691,6.297),(-59.878,4.365),(-59.996,2.427),(-60.049,0),(-59.996,-2.427),(-59.878,-4.365),(-59.691,-6.297),(-59.438,-8.223),(-59.027,-10.615),(-58.397,-13.458),(-57.618,-16.265),(-56.694,-19.027)],
  [(-57.687,-19.385),(-58.48,-17.046),(-59.172,-14.671),(-59.76,-12.269),(-60.243,-9.843),(-60.619,-7.399),(-60.888,-4.941),(-61.05,-2.472),(-61.104,0),(-61.05,2.472),(-60.888,4.941),(-60.619,7.399),(-60.243,9.843),(-59.76,12.269),(-59.172,14.671),(-58.48,17.046),(-57.687,19.385),(-57.247,19.228),(-58.181,16.437),(-58.967,13.6),(-59.604,10.727),(-60.019,8.31),(-60.276,6.364),(-60.464,4.411),(-60.603,1.962),(-60.637,0),(-60.603,-1.962),(-60.464,-4.411),(-60.276,-6.364),(-60.019,-8.31),(-59.604,-10.727),(-58.967,-13.6),(-58.181,-16.437),(-57.247,-19.228)],
  [(-58.25,-19.591),(-59.053,-17.226),(-59.752,-14.827),(-60.346,-12.399),(-60.834,-9.947),(-61.214,-7.478),(-61.486,-4.993),(-61.65,-2.499),(-61.704,0),(-61.65,2.499),(-61.486,4.993),(-61.214,7.478),(-60.834,9.947),(-60.346,12.399),(-59.752,14.827),(-59.053,17.226),(-58.25,19.591),(-57.8,19.429),(-58.744,16.609),(-59.539,13.743),(-60.086,11.325),(-60.602,8.397),(-60.861,6.431),(-61.088,3.963),(-61.191,1.983),(-61.226,0),(-61.191,-1.983),(-61.088,-3.963),(-60.861,-6.431),(-60.602,-8.397),(-60.086,-11.325),(-59.539,-13.743),(-58.744,-16.609),(-57.8,-19.429)],
  [(-58.817,-19.798),(-59.628,-17.407),(-60.335,-14.983),(-60.935,-12.529),(-61.429,-10.052),(-61.813,-7.556),(-62.088,-5.046),(-62.253,-2.526),(-62.308,0),(-62.253,2.526),(-62.088,5.046),(-61.813,7.556),(-61.429,10.052),(-60.935,12.529),(-60.335,14.983),(-59.628,17.407),(-58.817,19.798),(-58.356,19.632),(-59.31,16.782),(-59.99,14.372),(-60.666,11.444),(-61.188,8.484),(-61.449,6.498),(-61.641,4.503),(-61.783,2.003),(-61.818,0),(-61.783,-2.003),(-61.641,-4.503),(-61.449,-6.498),(-61.188,-8.484),(-60.666,-11.444),(-59.99,-14.372),(-59.31,-16.782),(-58.356,-19.632)])

lib.write_gds('SOI340_oband_TM_rib_apodized_GC_EBL_focusing_v0p0_LFalse.gds')
